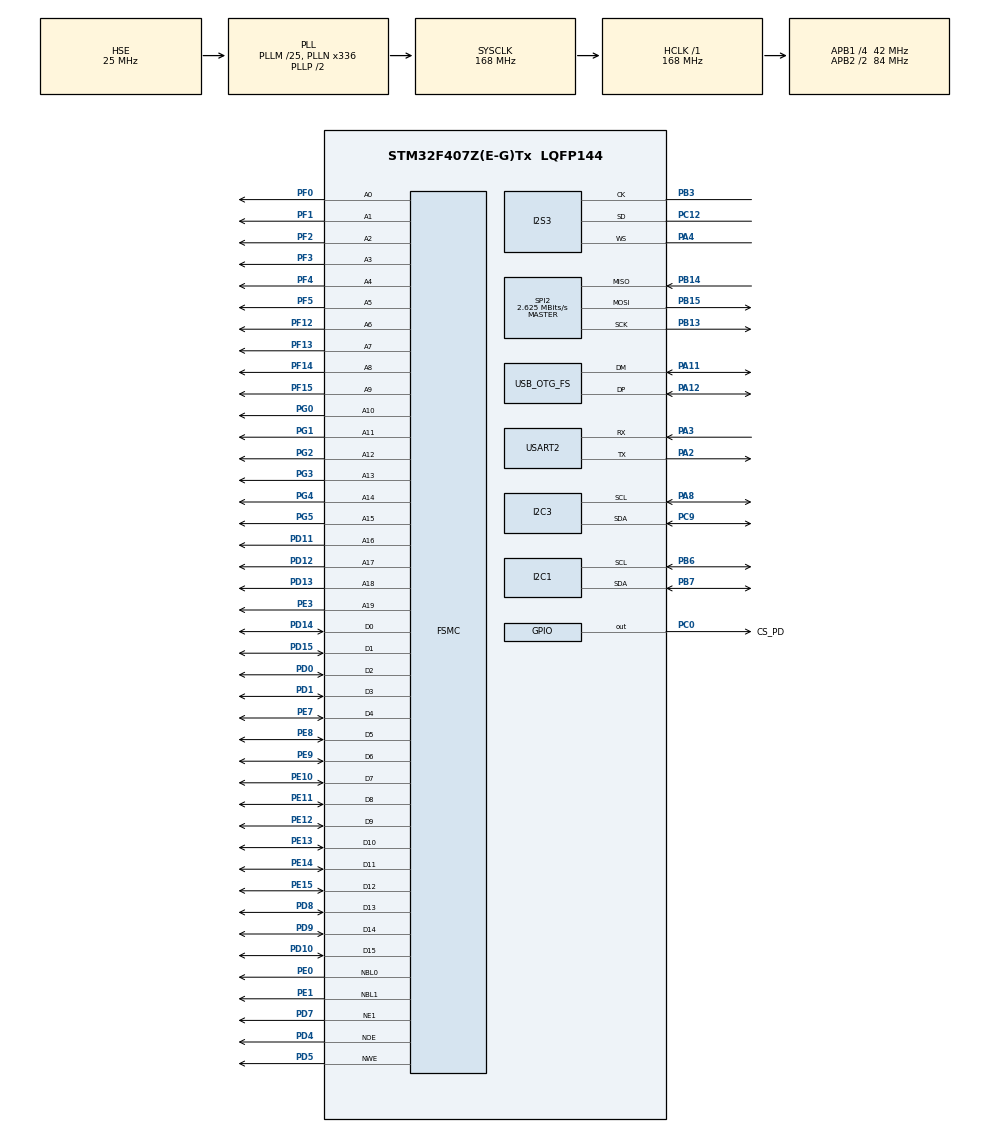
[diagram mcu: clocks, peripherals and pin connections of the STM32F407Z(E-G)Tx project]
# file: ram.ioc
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Dma.Request0=SPI2_RX
Dma.Request1=SPI2_TX
Dma.Request2=SPI3_RX
Dma.SPI2_RX.0.Direction=DMA_PERIPH_TO_MEMORY
Dma.SPI2_RX.0.FIFOMode=DMA_FIFOMODE_DISABLE
Dma.SPI2_RX.0.Instance=DMA1_Stream3
Dma.SPI2_RX.0.MemDataAlignment=DMA_MDATAALIGN_BYTE
Dma.SPI2_RX.0.MemInc=DMA_MINC_ENABLE
Dma.SPI2_RX.0.Mode=DMA_CIRCULAR
Dma.SPI2_RX.0.PeriphDataAlignment=DMA_PDATAALIGN_BYTE
Dma.SPI2_RX.0.PeriphInc=DMA_PINC_DISABLE
Dma.SPI2_RX.0.Priority=DMA_PRIORITY_LOW
Dma.SPI2_TX.1.Direction=DMA_MEMORY_TO_PERIPH
Dma.SPI2_TX.1.FIFOMode=DMA_FIFOMODE_DISABLE
Dma.SPI2_TX.1.Instance=DMA1_Stream4
Dma.SPI2_TX.1.MemDataAlignment=DMA_MDATAALIGN_BYTE
Dma.SPI2_TX.1.MemInc=DMA_MINC_ENABLE
Dma.SPI2_TX.1.Mode=DMA_CIRCULAR
Dma.SPI2_TX.1.PeriphDataAlignment=DMA_PDATAALIGN_BYTE
Dma.SPI2_TX.1.PeriphInc=DMA_PINC_DISABLE
Dma.SPI2_TX.1.Priority=DMA_PRIORITY_LOW
Dma.SPI3_RX.2.Direction=DMA_PERIPH_TO_MEMORY
Dma.SPI3_RX.2.FIFOMode=DMA_FIFOMODE_DISABLE
Dma.SPI3_RX.2.Instance=DMA1_Stream0
Dma.SPI3_RX.2.MemDataAlignment=DMA_MDATAALIGN_HALFWORD
Dma.SPI3_RX.2.MemInc=DMA_MINC_ENABLE
Dma.SPI3_RX.2.Mode=DMA_CIRCULAR
Dma.SPI3_RX.2.PeriphDataAlignment=DMA_PDATAALIGN_HALFWORD
Dma.SPI3_RX.2.PeriphInc=DMA_PINC_DISABLE
Dma.SPI3_RX.2.Priority=DMA_PRIORITY_LOW
FSMC.WriteOperation1=FSMC_WRITE_OPERATION_ENABLE
I2S3.AudioFreq=I2S_AUDIOFREQ_96K
I2S3.DataFormat=I2S_DATAFORMAT_24B
I2S3.ErrorAudioFreq=-2.34 %
I2S3.FullDuplexMode=I2S_FULLDUPLEXMODE_DISABLE
I2S3.Instance=SPI$Index
I2S3.Mode=I2S_MODE_MASTER_RX
I2S3.RealAudioFreq=93.75 KHz
I2S3.Standard=I2S_STANDARD_MSB
I2S3.VirtualMode=I2S_MODE_MASTER
Mcu.Family=STM32F4
Mcu.Name=STM32F407Z(E-G)Tx
Mcu.Package=LQFP144
NVIC.DMA1_Stream0_IRQn=true\:0\:0\:false\:false\:true\:false\:true\:true
NVIC.DMA1_Stream3_IRQn=true\:0\:0\:false\:false\:true\:false\:true\:true
NVIC.DMA1_Stream4_IRQn=true\:0\:0\:false\:false\:true\:false\:true\:true
NVIC.OTG_FS_IRQn=true\:0\:0\:false\:false\:true\:false\:true\:true
NVIC.PriorityGroup=NVIC_PRIORITYGROUP_4
NVIC.SPI3_IRQn=true\:0\:0\:false\:false\:true\:true\:true\:true
PA11.Mode=Device_Only
PA11.Signal=USB_OTG_FS_DM
PA12.Mode=Device_Only
PA12.Signal=USB_OTG_FS_DP
PA13.Signal=SYS_JTMS-SWDIO
PA14.Signal=SYS_JTCK-SWCLK
PA2.Mode=Asynchronous
PA2.Signal=USART2_TX
PA3.Mode=Asynchronous
PA3.Signal=USART2_RX
PA4.Mode=Half_Duplex_Master
PA4.Signal=I2S3_WS
PA8.GPIO_Pu=GPIO_PULLUP
PA8.Mode=I2C
PA8.Signal=I2C3_SCL
PB13.Mode=Full_Duplex_Master
PB13.Signal=SPI2_SCK
PB14.Mode=Full_Duplex_Master
PB14.Signal=SPI2_MISO
PB15.Mode=Full_Duplex_Master
PB15.Signal=SPI2_MOSI
PB3.Mode=Half_Duplex_Master
PB3.Signal=I2S3_CK
PB5.Signal=SPI1_MOSI
PB6.GPIO_Pu=GPIO_PULLUP
PB6.Mode=I2C
PB6.Signal=I2C1_SCL
PB7.GPIO_Pu=GPIO_PULLUP
PB7.Mode=I2C
PB7.Signal=I2C1_SDA
PC0.GPIO_Label=CS_PD
PC0.GPIO_Speed=GPIO_SPEED_FREQ_HIGH
PC0.PinState=GPIO_PIN_SET
PC0.Signal=GPIO_Output
PC12.Mode=Half_Duplex_Master
PC12.Signal=I2S3_SD
PC14-OSC32_IN.Mode=LSE-External-Oscillator
PC14-OSC32_IN.Signal=RCC_OSC32_IN
PC15-OSC32_OUT.Mode=LSE-External-Oscillator
PC15-OSC32_OUT.Signal=RCC_OSC32_OUT
PC9.GPIO_Pu=GPIO_PULLUP
PC9.Mode=I2C
PC9.Signal=I2C3_SDA
PD0.Signal=FSMC_D2_DA2
PD1.Signal=FSMC_D3_DA3
PD10.Signal=FSMC_D15_DA15
PD11.Signal=FSMC_A16_CLE
PD12.Signal=FSMC_A17_ALE
PD13.Signal=FSMC_A18
PD14.Signal=FSMC_D0_DA0
PD15.Signal=FSMC_D1_DA1
PD4.Signal=FSMC_NOE
PD5.Signal=FSMC_NWE
PD7.Mode=NorPsramChipSelect1_1
PD7.Signal=FSMC_NE1
PD8.Signal=FSMC_D13_DA13
PD9.Signal=FSMC_D14_DA14
PE0.Signal=FSMC_NBL0
PE1.Signal=FSMC_NBL1
PE10.Signal=FSMC_D7_DA7
PE11.Signal=FSMC_D8_DA8
PE12.Signal=FSMC_D9_DA9
PE13.Signal=FSMC_D10_DA10
PE14.Signal=FSMC_D11_DA11
PE15.Signal=FSMC_D12_DA12
PE3.Signal=FSMC_A19
PE7.Signal=FSMC_D4_DA4
PE8.Signal=FSMC_D5_DA5
PE9.Signal=FSMC_D6_DA6
PF0.Signal=FSMC_A0
PF1.Signal=FSMC_A1
PF12.Signal=FSMC_A6
PF13.Signal=FSMC_A7
PF14.Signal=FSMC_A8
PF15.Signal=FSMC_A9
PF2.Signal=FSMC_A2
PF3.Signal=FSMC_A3
PF4.Signal=FSMC_A4
PF5.Signal=FSMC_A5
PG0.Signal=FSMC_A10
PG1.Signal=FSMC_A11
PG2.Signal=FSMC_A12
PG3.Signal=FSMC_A13
PG4.Signal=FSMC_A14
PG5.Signal=FSMC_A15
PH0-OSC_IN.Mode=HSE-External-Oscillator
PH0-OSC_IN.Signal=RCC_OSC_IN
PH1-OSC_OUT.Mode=HSE-External-Oscillator
PH1-OSC_OUT.Signal=RCC_OSC_OUT
ProjectManager.HeapSize=0x200
ProjectManager.StackSize=0x400
ProjectManager.TargetToolchain=STM32CubeIDE
RCC.48MHZClocksFreq_Value=48000000
RCC.AHBFreq_Value=168000000
RCC.APB1CLKDivider=RCC_HCLK_DIV4
RCC.APB1Freq_Value=42000000
RCC.APB1TimFreq_Value=84000000
RCC.APB2CLKDivider=RCC_HCLK_DIV2
RCC.APB2Freq_Value=84000000
RCC.APB2TimFreq_Value=168000000
RCC.CortexFreq_Value=168000000
RCC.HCLKFreq_Value=168000000
RCC.HSE_VALUE=25000000
RCC.HSI_VALUE=16000000
RCC.PLLM=25
RCC.PLLN=336
RCC.PLLQ=7
RCC.SYSCLKFreq_VALUE=168000000
RCC.SYSCLKSource=RCC_SYSCLKSOURCE_PLLCLK
RCC.VCOOutputFreq_Value=336000000
SH.FSMC_A0.0=FSMC_A0,20b-a1
SH.FSMC_A1.0=FSMC_A1,20b-a1
SH.FSMC_A10.0=FSMC_A10,20b-a1
SH.FSMC_A11.0=FSMC_A11,20b-a1
SH.FSMC_A12.0=FSMC_A12,20b-a1
SH.FSMC_A13.0=FSMC_A13,20b-a1
SH.FSMC_A14.0=FSMC_A14,20b-a1
SH.FSMC_A15.0=FSMC_A15,20b-a1
SH.FSMC_A16_CLE.0=FSMC_A16,20b-a1
SH.FSMC_A17_ALE.0=FSMC_A17,20b-a1
SH.FSMC_A18.0=FSMC_A18,20b-a1
SH.FSMC_A19.0=FSMC_A19,20b-a1
SH.FSMC_A2.0=FSMC_A2,20b-a1
SH.FSMC_A3.0=FSMC_A3,20b-a1
SH.FSMC_A4.0=FSMC_A4,20b-a1
SH.FSMC_A5.0=FSMC_A5,20b-a1
SH.FSMC_A6.0=FSMC_A6,20b-a1
SH.FSMC_A7.0=FSMC_A7,20b-a1
SH.FSMC_A8.0=FSMC_A8,20b-a1
SH.FSMC_A9.0=FSMC_A9,20b-a1
SH.FSMC_D0_DA0.0=FSMC_D0,16b-d1
SH.FSMC_D10_DA10.0=FSMC_D10,16b-d1
SH.FSMC_D11_DA11.0=FSMC_D11,16b-d1
SH.FSMC_D12_DA12.0=FSMC_D12,16b-d1
SH.FSMC_D13_DA13.0=FSMC_D13,16b-d1
SH.FSMC_D14_DA14.0=FSMC_D14,16b-d1
SH.FSMC_D15_DA15.0=FSMC_D15,16b-d1
SH.FSMC_D1_DA1.0=FSMC_D1,16b-d1
SH.FSMC_D2_DA2.0=FSMC_D2,16b-d1
SH.FSMC_D3_DA3.0=FSMC_D3,16b-d1
SH.FSMC_D4_DA4.0=FSMC_D4,16b-d1
SH.FSMC_D5_DA5.0=FSMC_D5,16b-d1
SH.FSMC_D6_DA6.0=FSMC_D6,16b-d1
SH.FSMC_D7_DA7.0=FSMC_D7,16b-d1
SH.FSMC_D8_DA8.0=FSMC_D8,16b-d1
SH.FSMC_D9_DA9.0=FSMC_D9,16b-d1
SH.FSMC_NBL0.0=FSMC_NBL0,2ByteEnable1
SH.FSMC_NBL1.0=FSMC_NBL1,2ByteEnable1
SH.FSMC_NOE.0=FSMC_NOE,Sram1
SH.FSMC_NWE.0=FSMC_NWE,Sram1
SPI2.BaudRatePrescaler=SPI_BAUDRATEPRESCALER_16
SPI2.CLKPhase=SPI_PHASE_2EDGE
SPI2.CLKPolarity=SPI_POLARITY_HIGH
SPI2.CalculateBaudRate=2.625 MBits/s
SPI2.Direction=SPI_DIRECTION_2LINES
SPI2.Mode=SPI_MODE_MASTER
SPI2.VirtualType=VM_MASTER
USART2.VirtualMode=VM_ASYNC
USB_DEVICE.CLASS_NAME_FS=CDC
USB_DEVICE.VirtualMode-CDC_FS=Cdc
USB_DEVICE.VirtualModeFS=Cdc_FS
USB_OTG_FS.VirtualMode=Device_Only
VP_USB_DEVICE_VS_USB_DEVICE_CDC_FS.Mode=CDC_FS
board=custom

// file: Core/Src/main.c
/* USER CODE BEGIN Header */
/**
 ******************************************************************************
 * @file           : main.c
 * @brief          : Main program body
 ******************************************************************************
 * @attention
 *
 * Copyright (c) 2025 STMicroelectronics.
 * All rights reserved.
 *
 * This software is licensed under terms that can be found in the LICENSE file
 * in the root directory of this software component.
 * If no LICENSE file comes with this software, it is provided AS-IS.
 *
 ******************************************************************************
 */
/* USER CODE END Header */
#include "main.h"
#include "dma.h"
#include "i2c.h"
#include "i2s.h"
#include "spi.h"
#include "usart.h"
#include "usb_device.h"
#include "gpio.h"
#include "fsmc.h"

/* USER CODE BEGIN Includes */
#include "stdio.h"
#include "usbd_cdc.h"
#include "usbd_cdc_if.h"
#include "AD7175.h"
#include "CAT9555.h"
#include "M24256.h"
/* USER CODE END Includes */

void SystemClock_Config(void);
/* USER CODE BEGIN PFP */
#ifdef __GNUC__
/* With GCC, small printf (option LD Linker->Libraries->Small printf
 set to 'Yes') calls __io_putchar() */
#define PUTCHAR_PROTOTYPE int __io_putchar(int ch)
#else
#define PUTCHAR_PROTOTYPE int fputc(int ch, FILE *f)
#endif /* __GNUC__ */
/* USER CODE END PFP */

/* USER CODE BEGIN 0 */
volatile uint32_t samples1=0; // Moved to top for safety

char usb_buf[64];
char aRXbuff[48];
char aCopyBuff[48];
#define EEPROM_ADDR 0x50 << 1
char vReceive = 0;
uint8_t fReceive_ok = 0; // This flag is set on USART0 Receiver buffer overflow
uint8_t CDC_Transmit_FS(uint8_t *Buf, uint16_t Len);
#define SDRAM_SIZE (1000 * 288)
int32_t sdram_buffer[SDRAM_SIZE] __attribute__((section(".sdram_data")));
volatile uint32_t sdram_index = 0;
volatile uint8_t recording = 0;
uint32_t record_start_tick = 0;
volatile uint8_t spi_done_flag = 0;
void Hard_Reset_SRAM_Chip(void)
{
  memset((void *)0x60000000, 0, 2 * 1024 * 1024);
}
void CDC_Print(char *str)
{
  CDC_Transmit_FS((uint8_t *)str, strlen(str));
  HAL_Delay(2); // rất quan trọng, tránh full buffer
}
void DeleteRXBuff(void);
typedef void (*CommandHandler)(void);
typedef struct CommandNode
{
  const char *command;
  CommandHandler handler;
  uint8_t use_strstr;
  struct CommandNode *next;
} CommandNode;
/* USER CODE END PFP */

/* Private user code ---------------------------------------------------------*/
/* USER CODE BEGIN 0 */
uint8_t ad7175_cmd_buffer[5];
uint8_t ad7175_rx_buffer[5];
#define HASH_TABLE_SIZE 521
CommandNode *commandHashTable[HASH_TABLE_SIZE];
#define SAMPLE_RATE 96000
#define BLOCK_MS 10
#define FRAME_PER_BLOCK (SAMPLE_RATE * BLOCK_MS / 1000)
#define DMA_LEN 512 // 24-bit stereo ghép

uint32_t  i2s_dma_buf[DMA_LEN];

// Hash function
uint16_t HashFunction(const char *str)
{
  uint32_t hash = 0;
  while (*str && *str != ':') // Dừng khi gặp ':' hoặc null
  {
    hash ^= (*str);          // XOR ký tự hiện tại với giá trị hash
    hash *= 167;             // Nhân để tăng phân tán
    hash %= HASH_TABLE_SIZE; // Lấy dư để phù hợp kích thước bảng
    str++;
  }
  return hash;
}
// Add command to hash table
void AddCommandToHashTable(const char *command, CommandHandler handler, uint8_t use_strstr)
{
  uint8_t hashIndex = HashFunction(command);
  CommandNode *newNode = (CommandNode *)malloc(sizeof(CommandNode));
  // newNode->command = strdup(command);
  newNode->command = command;
  newNode->handler = handler;
  newNode->use_strstr = use_strstr;
  newNode->next = commandHashTable[hashIndex];
  commandHashTable[hashIndex] = newNode;
}

// Process command
void ProcessCommand(const char *input)
{
  uint8_t hashIndex = HashFunction(input);
  CommandNode *node = commandHashTable[hashIndex];
  while (node != NULL)
  {
    if ((node->use_strstr && strstr(input, node->command) != NULL) ||
        (!node->use_strstr && strcmp(input, node->command) == 0))
    {
      node->handler();
      DeleteRXBuff();
      fReceive_ok = 0;
      return;
    }
    node = node->next;
  }

  // ERR CMD
  printf("cmd error\r\n");
  DeleteRXBuff();
  fReceive_ok = 0;
}

void I2cScan(void)
{
  printf("start scan\n");
  for (uint8_t i = 0; i < 128; i++)
  {
    uint8_t addr = (i << 1);
    if (HAL_I2C_IsDeviceReady(&hi2c1, addr, 1, HAL_MAX_DELAY) == HAL_OK)
    {
      printf("addres see 0x%02x\n", addr);
    }
  }
  printf("done scan\n");
  float a = M24256ReadNumber(&hi2c1, EEPROM_ADDR, 8, 0);
  printf("gia tri a %f\n", a);
}

void StartI2S()
{
  samples1 = 0;
  HAL_I2S_Receive_DMA(&hi2s3, (uint16_t *)i2s_dma_buf, DMA_LEN);
  record_start_tick = HAL_GetTick();
  recording = 1;
}

// Flags for main loop processing
volatile uint8_t process_half = 0;
volatile uint8_t process_full = 0;
void StopRecord(void)
{
  HAL_I2S_DMAStop(&hi2s3);
  // printf("Record stopped. Samples: %lu\r\n", samples1);
  recording = 0;
  process_full=0;
  process_half=0;
}
void process_i2s_24bit(uint32_t   *buf, uint32_t len)
{
    for (uint32_t i = 0; i < len; i+=2)
  {
    int32_t sample = (int32_t)buf[i];
    sample = sample >> 8;

    if (samples1 < SDRAM_SIZE)
    {
        sdram_buffer[samples1++] = sample;
    }
  }
}

void HAL_I2S_RxHalfCpltCallback(I2S_HandleTypeDef *hi2s)
{
  process_half = 1;
}

void HAL_I2S_RxCpltCallback(I2S_HandleTypeDef *hi2s)
{
  process_full = 1;
}
void HAL_I2S_ErrorCallback(I2S_HandleTypeDef *hi2s)
{
  printf("I2S Error Code: %lu\r\n", hi2s->ErrorCode);
}
void DeleteRXBuff(void)
{
  memset(aRXbuff, 0, sizeof(aRXbuff));
}
/* OPTIMIZED SEND2 with PING-PONG BUFFERING */
#define UART_BLOCK 19200             // Increased buffer size for better throughput
uint8_t uart_tx_buf[2][UART_BLOCK]; // Double buffer (Ping-Pong)
volatile uint8_t uart_busy = 0;
void Send2()
{
  uint32_t total_bytes = samples1 * 3;
  uint32_t offset = 0;
  uint8_t buf_idx = 0;

  // Pre-fill the first buffer
  uint32_t samples = UART_BLOCK / 3;
  if ((offset + samples * 3) > total_bytes)
    samples = (total_bytes - offset) / 3;

  for (uint32_t i = 0; i < samples; i++)
  {
    int32_t s = sdram_buffer[(offset / 3) + i];
    uart_tx_buf[buf_idx][3 * i] = (s >> 16) & 0xFF;
    uart_tx_buf[buf_idx][3 * i + 1] = (s >> 8) & 0xFF;
    uart_tx_buf[buf_idx][3 * i + 2] = s & 0xFF;
  }

  // Start first transmission
  uart_busy = 1;
  CDC_Transmit_FS((uint8_t *)uart_tx_buf[buf_idx], samples * 3);

  offset += samples * 3;
  buf_idx = !buf_idx; // Switch to next buffer

  while (offset < total_bytes)
  {
    // PREPARE NEXT BUFFER while current one is sending
    samples = UART_BLOCK / 3;
    if ((offset + samples * 3) > total_bytes)
      samples = (total_bytes - offset) / 3;

    for (uint32_t i = 0; i < samples; i++)
    {
      int32_t s = sdram_buffer[(offset / 3) + i];
      // Pack into the "next" buffer (not the one currently transmitting)
      uart_tx_buf[buf_idx][3 * i] = (s >> 16) & 0xFF;
      uart_tx_buf[buf_idx][3 * i + 1] = (s >> 8) & 0xFF;
      uart_tx_buf[buf_idx][3 * i + 2] = s & 0xFF;
    }

    // WAIT for previous transmission to complete
    while (uart_busy)
    {
      // Optional: Add timeout here if concerned about hanging
    }

    // SEND current buffer
    uart_busy = 1;
    CDC_Transmit_FS((uint8_t *)uart_tx_buf[buf_idx], samples * 3);

    // Advance
    offset += samples * 3;
    buf_idx = !buf_idx; // Swap buffers
  }

  // Wait for the very last packet to finish
  while (uart_busy)
    ;
}
void Send()
{
  StartI2S();
}
void InitCommandHashTable()
{
  //  AddCommandToHashTable("ADC", ID_ADC_BAT, STRCMP);
  //  AddCommandToHashTable("Record", Record, STRCMP);
  //  AddCommandToHashTable("H", High, STRCMP);
  //  AddCommandToHashTable("L", Low, STRCMP);
//  AddCommandToHashTable("I2C", I2cScan, STRCMP);
  AddCommandToHashTable("Send", Send, 0);
}
/* USER CODE END 0 */

int main(void)
{

  /* MCU Configuration--------------------------------------------------------*/

  /* Reset of all peripherals, Initializes the Flash interface and the Systick. */
  HAL_Init();

  /* Configure the system clock */
  SystemClock_Config();

  /* Initialize all configured peripherals */
  MX_GPIO_Init();
  MX_DMA_Init();
  MX_USB_DEVICE_Init();
  MX_SPI2_Init();
  MX_USART2_UART_Init();
  MX_I2C3_Init();
  MX_I2C1_Init();
  MX_FSMC_Init();
  MX_I2S3_Init();
  /* USER CODE BEGIN 2 */
  Hard_Reset_SRAM_Chip();
  InitCommandHashTable();
  float number1 = 5;
  M24256WriteNumber(&hi2c1, EEPROM_ADDR, 8, 0, number1);
  CAT9555_init(&hi2c1, 0x21);
  CAT9555_wt_2_byte(&hi2c1, 0x21, 0xC700); // reset cat for BATV2
  AD7175_Setup1(&hspi2, CS_PD_GPIO_Port, CS_PD_Pin);
  ad717xRegisterSet(&hspi2, CS_PD_GPIO_Port, CS_PD_Pin, AD717X_CHMAP1_REG, 2, 0x1043);
  ad717xRegisterSet(&hspi2, CS_PD_GPIO_Port, CS_PD_Pin, AD717X_CHMAP0_REG, 2, 0x0001);
  ad717xRegisterSet(&hspi2, CS_PD_GPIO_Port, CS_PD_Pin, AD717X_CHMAP1_REG, 2, 0x9043);
  /* USER CODE END 2 */

  /* Infinite loop */
  while (1)
  {

    /* USER CODE BEGIN 3 */
    if (fReceive_ok == 1)
    {
      ProcessCommand(aRXbuff);
    }

    // Check flags from ISR
    if (process_half)
    {
      process_half = 0;
      process_i2s_24bit(&i2s_dma_buf[0], DMA_LEN / 2);
    }
    if (process_full)
    {
      process_full = 0;
      process_i2s_24bit(&i2s_dma_buf[DMA_LEN / 2], DMA_LEN / 2);
    }

    if (recording)
    {
      if (HAL_GetTick() - record_start_tick >= 2000)
      {
        StopRecord();
        Send2();
      }
    }
  }
  /* USER CODE END 3 */
}

void SystemClock_Config(void)
{
  RCC_OscInitTypeDef RCC_OscInitStruct = {0};
  RCC_ClkInitTypeDef RCC_ClkInitStruct = {0};

  /** Configure the main internal regulator output voltage
  */
  __HAL_RCC_PWR_CLK_ENABLE();
  __HAL_PWR_VOLTAGESCALING_CONFIG(PWR_REGULATOR_VOLTAGE_SCALE1);

  /** Initializes the RCC Oscillators according to the specified parameters
  * in the RCC_OscInitTypeDef structure.
  */
  RCC_OscInitStruct.OscillatorType = RCC_OSCILLATORTYPE_HSE;
  RCC_OscInitStruct.HSEState = RCC_HSE_ON;
  RCC_OscInitStruct.PLL.PLLState = RCC_PLL_ON;
  RCC_OscInitStruct.PLL.PLLSource = RCC_PLLSOURCE_HSE;
  RCC_OscInitStruct.PLL.PLLM = 25;
  RCC_OscInitStruct.PLL.PLLN = 336;
  RCC_OscInitStruct.PLL.PLLP = RCC_PLLP_DIV2;
  RCC_OscInitStruct.PLL.PLLQ = 7;
  if (HAL_RCC_OscConfig(&RCC_OscInitStruct) != HAL_OK)
  {
    Error_Handler();
  }

  /** Initializes the CPU, AHB and APB buses clocks
  */
  RCC_ClkInitStruct.ClockType = RCC_CLOCKTYPE_HCLK|RCC_CLOCKTYPE_SYSCLK
                              |RCC_CLOCKTYPE_PCLK1|RCC_CLOCKTYPE_PCLK2;
  RCC_ClkInitStruct.SYSCLKSource = RCC_SYSCLKSOURCE_PLLCLK;
  RCC_ClkInitStruct.AHBCLKDivider = RCC_SYSCLK_DIV1;
  RCC_ClkInitStruct.APB1CLKDivider = RCC_HCLK_DIV4;
  RCC_ClkInitStruct.APB2CLKDivider = RCC_HCLK_DIV2;

  if (HAL_RCC_ClockConfig(&RCC_ClkInitStruct, FLASH_LATENCY_5) != HAL_OK)
  {
    Error_Handler();
  }
}

/* USER CODE BEGIN 4 */
PUTCHAR_PROTOTYPE
{
  /* Place your implementation of fputc here */
  /* e.g. write a character to the EVAL_COM1 and Loop until the end of transmission */
  HAL_UART_Transmit(&huart2, (uint8_t *)&ch, 1, 10);
  uint8_t buf[1] = {ch};
  CDC_Transmit_FS(buf, 1);
  return ch;
}
/* USER CODE END 4 */

void Error_Handler(void)
{
  __disable_irq();
  while (1)
  {
  }
}
